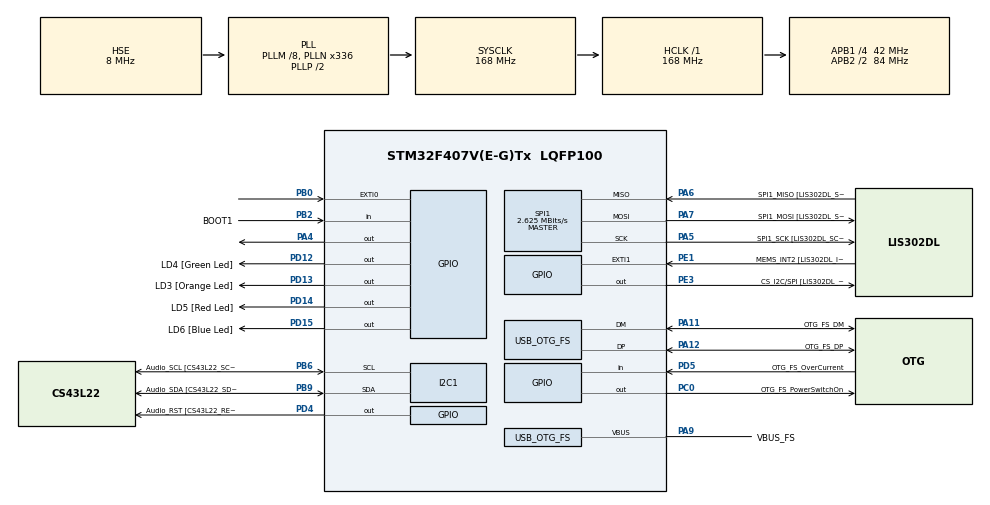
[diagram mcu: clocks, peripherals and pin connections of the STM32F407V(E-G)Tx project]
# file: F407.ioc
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Mcu.Family=STM32F4
Mcu.Name=STM32F407V(E-G)Tx
Mcu.Package=LQFP100
NVIC.EXTI0_IRQn=true\:0\:0\:false\:false\:true\:true\:true\:true
NVIC.OTG_FS_IRQn=true\:0\:0\:false\:false\:true\:true\:true\:true
NVIC.PriorityGroup=NVIC_PRIORITYGROUP_0
NVIC.SPI1_IRQn=true\:0\:0\:false\:false\:true\:true\:true\:true
PA10.GPIO_Label=OTG_FS_ID
PA10.GPIO_Mode=GPIO_MODE_AF_PP
PA10.GPIO_PuPd=GPIO_NOPULL
PA10.GPIO_Speed=GPIO_SPEED_FREQ_LOW
PA10.Signal=USB_OTG_FS_ID
PA11.GPIO_Label=OTG_FS_DM
PA11.GPIO_Mode=GPIO_MODE_AF_PP
PA11.GPIO_PuPd=GPIO_NOPULL
PA11.GPIO_Speed=GPIO_SPEED_FREQ_LOW
PA11.Mode=Device_Only
PA11.Signal=USB_OTG_FS_DM
PA12.GPIO_Label=OTG_FS_DP
PA12.GPIO_Mode=GPIO_MODE_AF_PP
PA12.GPIO_PuPd=GPIO_NOPULL
PA12.GPIO_Speed=GPIO_SPEED_FREQ_LOW
PA12.Mode=Device_Only
PA12.Signal=USB_OTG_FS_DP
PA13.GPIO_Label=SWDIO
PA13.Mode=Serial_Wire
PA13.Signal=SYS_JTMS-SWDIO
PA14.GPIO_Label=SWCLK
PA14.Mode=Serial_Wire
PA14.Signal=SYS_JTCK-SWCLK
PA4.Signal=GPIO_Output
PA5.GPIO_Label=SPI1_SCK [LIS302DL_SCL/SPC]
PA5.GPIO_Mode=GPIO_MODE_AF_PP
PA5.GPIO_PuPd=GPIO_NOPULL
PA5.GPIO_Speed=GPIO_SPEED_FREQ_LOW
PA5.Mode=Full_Duplex_Master
PA5.Signal=SPI1_SCK
PA6.GPIO_Label=SPI1_MISO [LIS302DL_SDO]
PA6.GPIO_Mode=GPIO_MODE_AF_PP
PA6.GPIO_PuPd=GPIO_NOPULL
PA6.GPIO_Speed=GPIO_SPEED_FREQ_LOW
PA6.Mode=Full_Duplex_Master
PA6.Signal=SPI1_MISO
PA7.GPIO_Label=SPI1_MOSI [LIS302DL_SDA/SDI/SDO]
PA7.GPIO_Mode=GPIO_MODE_AF_PP
PA7.GPIO_PuPd=GPIO_NOPULL
PA7.GPIO_Speed=GPIO_SPEED_FREQ_LOW
PA7.Mode=Full_Duplex_Master
PA7.Signal=SPI1_MOSI
PA9.GPIO_Label=VBUS_FS
PA9.GPIO_Mode=GPIO_MODE_INPUT
PA9.GPIO_PuPd=GPIO_NOPULL
PA9.Mode=Activate_VBUS
PA9.Signal=USB_OTG_FS_VBUS
PB0.Signal=GPXTI0
PB10.GPIO_Label=CLK_IN [MP45DT02_CLK]
PB10.GPIO_Mode=GPIO_MODE_AF_PP
PB10.GPIO_PuPd=GPIO_NOPULL
PB10.GPIO_Speed=GPIO_SPEED_FREQ_LOW
PB10.Signal=I2S2_CK
PB2.GPIO_Label=BOOT1
PB2.GPIO_Mode=GPIO_MODE_INPUT
PB2.GPIO_PuPd=GPIO_NOPULL
PB2.Signal=GPIO_Input
PB3.GPIO_Label=SWO
PB3.Signal=SYS_JTDO-SWO
PB6.GPIO_Label=Audio_SCL [CS43L22_SCL]
PB6.GPIO_Mode=GPIO_MODE_AF_OD
PB6.GPIO_Pu=GPIO_PULLUP
PB6.GPIO_PuPd=GPIO_NOPULL
PB6.GPIO_Speed=GPIO_SPEED_FREQ_LOW
PB6.Mode=I2C
PB6.Signal=I2C1_SCL
PB9.GPIO_Label=Audio_SDA [CS43L22_SDA]
PB9.GPIO_Mode=GPIO_MODE_AF_OD
PB9.GPIO_Pu=GPIO_PULLUP
PB9.GPIO_PuPd=GPIO_NOPULL
PB9.GPIO_Speed=GPIO_SPEED_FREQ_LOW
PB9.Mode=I2C
PB9.Signal=I2C1_SDA
PC0.GPIO_Label=OTG_FS_PowerSwitchOn
PC0.GPIO_PuPd=GPIO_NOPULL
PC0.GPIO_Speed=GPIO_SPEED_FREQ_LOW
PC0.PinState=GPIO_PIN_SET
PC0.Signal=GPIO_Output
PC10.GPIO_Label=I2S3_SCK [CS43L22_SCLK]
PC10.GPIO_Mode=GPIO_MODE_AF_PP
PC10.GPIO_PuPd=GPIO_NOPULL
PC10.GPIO_Speed=GPIO_SPEED_FREQ_LOW
PC10.Signal=I2S3_CK
PC12.GPIO_Label=I2S3_SD [CS43L22_SDIN]
PC12.GPIO_Mode=GPIO_MODE_AF_PP
PC12.GPIO_PuPd=GPIO_NOPULL
PC12.GPIO_Speed=GPIO_SPEED_FREQ_LOW
PC12.Signal=I2S3_SD
PC14-OSC32_IN.GPIO_Label=PC14-OSC32_IN
PC14-OSC32_IN.Mode=LSE-External-Oscillator
PC14-OSC32_IN.Signal=RCC_OSC32_IN
PC15-OSC32_OUT.GPIO_Label=PC15-OSC32_OUT
PC15-OSC32_OUT.Mode=LSE-External-Oscillator
PC15-OSC32_OUT.Signal=RCC_OSC32_OUT
PC3.GPIO_Label=PDM_OUT [MP45DT02_DOUT]
PC3.GPIO_Mode=GPIO_MODE_AF_PP
PC3.GPIO_PuPd=GPIO_NOPULL
PC3.GPIO_Speed=GPIO_SPEED_FREQ_LOW
PC3.Signal=I2S2_SD
PC7.GPIO_Label=I2S3_MCK [CS43L22_MCLK]
PC7.GPIO_Mode=GPIO_MODE_AF_PP
PC7.GPIO_PuPd=GPIO_NOPULL
PC7.GPIO_Speed=GPIO_SPEED_FREQ_LOW
PC7.Signal=I2S3_MCK
PD12.GPIO_Label=LD4 [Green Led]
PD12.GPIO_PuPd=GPIO_NOPULL
PD12.GPIO_Speed=GPIO_SPEED_FREQ_LOW
PD12.Signal=GPIO_Output
PD13.GPIO_Label=LD3 [Orange Led]
PD13.GPIO_PuPd=GPIO_NOPULL
PD13.GPIO_Speed=GPIO_SPEED_FREQ_LOW
PD13.Signal=GPIO_Output
PD14.GPIO_Label=LD5 [Red Led]
PD14.GPIO_PuPd=GPIO_NOPULL
PD14.GPIO_Speed=GPIO_SPEED_FREQ_LOW
PD14.Signal=GPIO_Output
PD15.GPIO_Label=LD6 [Blue Led]
PD15.GPIO_PuPd=GPIO_NOPULL
PD15.GPIO_Speed=GPIO_SPEED_FREQ_LOW
PD15.Signal=GPIO_Output
PD4.GPIO_Label=Audio_RST [CS43L22_RESET]
PD4.GPIO_PuPd=GPIO_NOPULL
PD4.GPIO_Speed=GPIO_SPEED_FREQ_LOW
PD4.Signal=GPIO_Output
PD5.GPIO_Label=OTG_FS_OverCurrent
PD5.GPIO_Mode=GPIO_MODE_INPUT
PD5.GPIO_PuPd=GPIO_NOPULL
PD5.Signal=GPIO_Input
PE1.GPIO_Label=MEMS_INT2 [LIS302DL_INT2]
PE1.GPIO_ModeDefaultEXTI=GPIO_MODE_EVT_RISING
PE1.GPIO_PuPd=GPIO_NOPULL
PE1.Signal=GPXTI1
PE3.GPIO_Label=CS_I2C/SPI [LIS302DL_CS_I2C/SPI]
PE3.GPIO_PuPd=GPIO_NOPULL
PE3.GPIO_Speed=GPIO_SPEED_FREQ_LOW
PE3.Signal=GPIO_Output
PH0-OSC_IN.GPIO_Label=PH0-OSC_IN
PH0-OSC_IN.Mode=HSE-External-Oscillator
PH0-OSC_IN.Signal=RCC_OSC_IN
PH1-OSC_OUT.GPIO_Label=PH1-OSC_OUT
PH1-OSC_OUT.Mode=HSE-External-Oscillator
PH1-OSC_OUT.Signal=RCC_OSC_OUT
ProjectManager.HeapSize=0x200
ProjectManager.StackSize=0x400
ProjectManager.TargetToolchain=STM32CubeIDE
RCC.48MHZClocksFreq_Value=48000000
RCC.AHBFreq_Value=168000000
RCC.APB1CLKDivider=RCC_HCLK_DIV4
RCC.APB1Freq_Value=42000000
RCC.APB1TimFreq_Value=84000000
RCC.APB2CLKDivider=RCC_HCLK_DIV2
RCC.APB2Freq_Value=84000000
RCC.APB2TimFreq_Value=168000000
RCC.CortexFreq_Value=168000000
RCC.HCLKFreq_Value=168000000
RCC.HSE_VALUE=8000000
RCC.HSI_VALUE=16000000
RCC.PLLM=8
RCC.PLLN=336
RCC.PLLQ=7
RCC.SYSCLKFreq_VALUE=168000000
RCC.SYSCLKSource=RCC_SYSCLKSOURCE_PLLCLK
RCC.VCOOutputFreq_Value=336000000
SPI1.BaudRatePrescaler=SPI_BAUDRATEPRESCALER_32
SPI1.CLKPhase=SPI_PHASE_2EDGE
SPI1.CalculateBaudRate=2.625 MBits/s
SPI1.Direction=SPI_DIRECTION_2LINES
SPI1.Mode=SPI_MODE_MASTER
SPI1.VirtualType=VM_MASTER
USB_DEVICE.CLASS_NAME_FS=CDC
USB_DEVICE.VirtualMode-CDC_FS=Cdc
USB_DEVICE.VirtualModeFS=Cdc_FS
USB_OTG_FS.VirtualMode=Device_Only
VP_USB_DEVICE_VS_USB_DEVICE_CDC_FS.Mode=CDC_FS
board=STM32F407G-DISC1

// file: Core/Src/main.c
/* USER CODE BEGIN Header */
/**
  ******************************************************************************
  * @file           : main.c
  * @brief          : Main program body
  ******************************************************************************
  * @attention
  *
  * Copyright (c) 2025 STMicroelectronics.
  * All rights reserved.
  *
  * This software is licensed under terms that can be found in the LICENSE file
  * in the root directory of this software component.
  * If no LICENSE file comes with this software, it is provided AS-IS.
  *
  ******************************************************************************
  */
/* USER CODE END Header */
#include "main.h"
#include "usb_device.h"

/* USER CODE BEGIN Includes */
#include "usbd_cdc_if.h"
#include "app_x-cube-nfcx.h"
/* USER CODE END Includes */

/* USER CODE BEGIN PTD */
#include "rfal_platform.h"
/* USER CODE END PTD */

I2C_HandleTypeDef hi2c1;

SPI_HandleTypeDef hspi1;

void SystemClock_Config(void);
static void MX_GPIO_Init(void);
static void MX_I2C1_Init(void);
static void MX_SPI1_Init(void);

/* USER CODE BEGIN 0 */
void SPI1_Transmit(uint8_t* data, uint16_t size) {
  platformSpiSelect();
    // Transmit data via SPI1 using the HAL_SPI_Transmit function
    if (HAL_SPI_Transmit(&hspi1, data, size, HAL_MAX_DELAY) != HAL_OK) {
        // Transmission failed
        Error_Handler();
    }
    platformSpiDeselect();
}
/* USER CODE END 0 */

int main(void)
{

  /* MCU Configuration--------------------------------------------------------*/

  /* Reset of all peripherals, Initializes the Flash interface and the Systick. */
  HAL_Init();

  /* Configure the system clock */
  SystemClock_Config();

  /* Initialize all configured peripherals */
  MX_GPIO_Init();
  MX_I2C1_Init();
  MX_SPI1_Init();
  MX_USB_DEVICE_Init();
  /* USER CODE BEGIN 2 */
  platformSpiDeselect();
  HAL_Delay(700);
  // Example data to send
  uint8_t spiData[] = {0x7f, 0x00};

  // Send data over SPI
  SPI1_Transmit(spiData, sizeof(spiData));
  SPI1_Transmit(spiData, sizeof(spiData));
  SPI1_Transmit(spiData, sizeof(spiData));
	MX_X_CUBE_NFC6_Init();
  /* USER CODE END 2 */

  /* Infinite loop */
  /* USER CODE BEGIN WHILE */
  while (1)
  {
	/* Toggle the state of LD5_Pin */
	HAL_GPIO_TogglePin(GPIOD, LD5_Pin);

	HAL_Delay(500);
//	HAL_GPIO_TogglePin(GPIOA, GPIO_PIN_4);

//	uint8_t UserTxBuffer[] = "STM32 Virtual COM Port Driver \r\n";
//
//
//	usb_printf("%s\r\n",UserTxBuffer);
	/* Delay for 1 second (1000 milliseconds) */
	HAL_Delay(500);

    /* USER CODE END WHILE */

  }
}

void SystemClock_Config(void)
{
  RCC_OscInitTypeDef RCC_OscInitStruct = {0};
  RCC_ClkInitTypeDef RCC_ClkInitStruct = {0};

  /** Configure the main internal regulator output voltage
  */
  __HAL_RCC_PWR_CLK_ENABLE();
  __HAL_PWR_VOLTAGESCALING_CONFIG(PWR_REGULATOR_VOLTAGE_SCALE1);

  /** Initializes the RCC Oscillators according to the specified parameters
  * in the RCC_OscInitTypeDef structure.
  */
  RCC_OscInitStruct.OscillatorType = RCC_OSCILLATORTYPE_HSE;
  RCC_OscInitStruct.HSEState = RCC_HSE_ON;
  RCC_OscInitStruct.PLL.PLLState = RCC_PLL_ON;
  RCC_OscInitStruct.PLL.PLLSource = RCC_PLLSOURCE_HSE;
  RCC_OscInitStruct.PLL.PLLM = 8;
  RCC_OscInitStruct.PLL.PLLN = 336;
  RCC_OscInitStruct.PLL.PLLP = RCC_PLLP_DIV2;
  RCC_OscInitStruct.PLL.PLLQ = 7;
  if (HAL_RCC_OscConfig(&RCC_OscInitStruct) != HAL_OK)
  {
    Error_Handler();
  }

  /** Initializes the CPU, AHB and APB buses clocks
  */
  RCC_ClkInitStruct.ClockType = RCC_CLOCKTYPE_HCLK|RCC_CLOCKTYPE_SYSCLK
                              |RCC_CLOCKTYPE_PCLK1|RCC_CLOCKTYPE_PCLK2;
  RCC_ClkInitStruct.SYSCLKSource = RCC_SYSCLKSOURCE_PLLCLK;
  RCC_ClkInitStruct.AHBCLKDivider = RCC_SYSCLK_DIV1;
  RCC_ClkInitStruct.APB1CLKDivider = RCC_HCLK_DIV4;
  RCC_ClkInitStruct.APB2CLKDivider = RCC_HCLK_DIV2;

  if (HAL_RCC_ClockConfig(&RCC_ClkInitStruct, FLASH_LATENCY_5) != HAL_OK)
  {
    Error_Handler();
  }
}

static void MX_I2C1_Init(void)
{

  hi2c1.Instance = I2C1;
  hi2c1.Init.ClockSpeed = 100000;
  hi2c1.Init.DutyCycle = I2C_DUTYCYCLE_2;
  hi2c1.Init.OwnAddress1 = 0;
  hi2c1.Init.AddressingMode = I2C_ADDRESSINGMODE_7BIT;
  hi2c1.Init.DualAddressMode = I2C_DUALADDRESS_DISABLE;
  hi2c1.Init.OwnAddress2 = 0;
  hi2c1.Init.GeneralCallMode = I2C_GENERALCALL_DISABLE;
  hi2c1.Init.NoStretchMode = I2C_NOSTRETCH_DISABLE;
  if (HAL_I2C_Init(&hi2c1) != HAL_OK)
  {
    Error_Handler();
  }

}

static void MX_SPI1_Init(void)
{

  /* SPI1 parameter configuration*/
  hspi1.Instance = SPI1;
  hspi1.Init.Mode = SPI_MODE_MASTER;
  hspi1.Init.Direction = SPI_DIRECTION_2LINES;
  hspi1.Init.DataSize = SPI_DATASIZE_8BIT;
  hspi1.Init.CLKPolarity = SPI_POLARITY_LOW;
  hspi1.Init.CLKPhase = SPI_PHASE_2EDGE;
  hspi1.Init.NSS = SPI_NSS_SOFT;
  hspi1.Init.BaudRatePrescaler = SPI_BAUDRATEPRESCALER_32;
  hspi1.Init.FirstBit = SPI_FIRSTBIT_MSB;
  hspi1.Init.TIMode = SPI_TIMODE_DISABLE;
  hspi1.Init.CRCCalculation = SPI_CRCCALCULATION_DISABLE;
  hspi1.Init.CRCPolynomial = 10;
  if (HAL_SPI_Init(&hspi1) != HAL_OK)
  {
    Error_Handler();
  }

}

static void MX_GPIO_Init(void)
{
  GPIO_InitTypeDef GPIO_InitStruct = {0};

  /* GPIO Ports Clock Enable */
  __HAL_RCC_GPIOE_CLK_ENABLE();
  __HAL_RCC_GPIOC_CLK_ENABLE();
  __HAL_RCC_GPIOH_CLK_ENABLE();
  __HAL_RCC_GPIOA_CLK_ENABLE();
  __HAL_RCC_GPIOB_CLK_ENABLE();
  __HAL_RCC_GPIOD_CLK_ENABLE();

  /*Configure GPIO pin Output Level */
  HAL_GPIO_WritePin(CS_I2C_SPI_GPIO_Port, CS_I2C_SPI_Pin, GPIO_PIN_RESET);

  /*Configure GPIO pin Output Level */
  HAL_GPIO_WritePin(OTG_FS_PowerSwitchOn_GPIO_Port, OTG_FS_PowerSwitchOn_Pin, GPIO_PIN_SET);

  /*Configure GPIO pin Output Level */
  HAL_GPIO_WritePin(GPIOA, GPIO_PIN_4, GPIO_PIN_RESET);

  /*Configure GPIO pin Output Level */
  HAL_GPIO_WritePin(GPIOD, LD4_Pin|LD3_Pin|LD5_Pin|LD6_Pin
                          |Audio_RST_Pin, GPIO_PIN_RESET);

  /*Configure GPIO pin : CS_I2C_SPI_Pin */
  GPIO_InitStruct.Pin = CS_I2C_SPI_Pin;
  GPIO_InitStruct.Mode = GPIO_MODE_OUTPUT_PP;
  GPIO_InitStruct.Pull = GPIO_NOPULL;
  GPIO_InitStruct.Speed = GPIO_SPEED_FREQ_LOW;
  HAL_GPIO_Init(CS_I2C_SPI_GPIO_Port, &GPIO_InitStruct);

  /*Configure GPIO pin : OTG_FS_PowerSwitchOn_Pin */
  GPIO_InitStruct.Pin = OTG_FS_PowerSwitchOn_Pin;
  GPIO_InitStruct.Mode = GPIO_MODE_OUTPUT_PP;
  GPIO_InitStruct.Pull = GPIO_NOPULL;
  GPIO_InitStruct.Speed = GPIO_SPEED_FREQ_LOW;
  HAL_GPIO_Init(OTG_FS_PowerSwitchOn_GPIO_Port, &GPIO_InitStruct);

  /*Configure GPIO pin : PDM_OUT_Pin */
  GPIO_InitStruct.Pin = PDM_OUT_Pin;
  GPIO_InitStruct.Mode = GPIO_MODE_AF_PP;
  GPIO_InitStruct.Pull = GPIO_NOPULL;
  GPIO_InitStruct.Speed = GPIO_SPEED_FREQ_LOW;
  GPIO_InitStruct.Alternate = GPIO_AF5_SPI2;
  HAL_GPIO_Init(PDM_OUT_GPIO_Port, &GPIO_InitStruct);

  /*Configure GPIO pin : PA4 */
  GPIO_InitStruct.Pin = GPIO_PIN_4;
  GPIO_InitStruct.Mode = GPIO_MODE_OUTPUT_PP;
  GPIO_InitStruct.Pull = GPIO_NOPULL;
  GPIO_InitStruct.Speed = GPIO_SPEED_FREQ_LOW;
  HAL_GPIO_Init(GPIOA, &GPIO_InitStruct);

  /*Configure GPIO pin : PB0 */
  GPIO_InitStruct.Pin = GPIO_PIN_0;
  GPIO_InitStruct.Mode = GPIO_MODE_IT_RISING;
  GPIO_InitStruct.Pull = GPIO_NOPULL;
  HAL_GPIO_Init(GPIOB, &GPIO_InitStruct);

  /*Configure GPIO pin : BOOT1_Pin */
  GPIO_InitStruct.Pin = BOOT1_Pin;
  GPIO_InitStruct.Mode = GPIO_MODE_INPUT;
  GPIO_InitStruct.Pull = GPIO_NOPULL;
  HAL_GPIO_Init(BOOT1_GPIO_Port, &GPIO_InitStruct);

  /*Configure GPIO pin : CLK_IN_Pin */
  GPIO_InitStruct.Pin = CLK_IN_Pin;
  GPIO_InitStruct.Mode = GPIO_MODE_AF_PP;
  GPIO_InitStruct.Pull = GPIO_NOPULL;
  GPIO_InitStruct.Speed = GPIO_SPEED_FREQ_LOW;
  GPIO_InitStruct.Alternate = GPIO_AF5_SPI2;
  HAL_GPIO_Init(CLK_IN_GPIO_Port, &GPIO_InitStruct);

  /*Configure GPIO pins : LD4_Pin LD3_Pin LD5_Pin LD6_Pin
                           Audio_RST_Pin */
  GPIO_InitStruct.Pin = LD4_Pin|LD3_Pin|LD5_Pin|LD6_Pin
                          |Audio_RST_Pin;
  GPIO_InitStruct.Mode = GPIO_MODE_OUTPUT_PP;
  GPIO_InitStruct.Pull = GPIO_NOPULL;
  GPIO_InitStruct.Speed = GPIO_SPEED_FREQ_LOW;
  HAL_GPIO_Init(GPIOD, &GPIO_InitStruct);

  /*Configure GPIO pins : I2S3_MCK_Pin I2S3_SCK_Pin I2S3_SD_Pin */
  GPIO_InitStruct.Pin = I2S3_MCK_Pin|I2S3_SCK_Pin|I2S3_SD_Pin;
  GPIO_InitStruct.Mode = GPIO_MODE_AF_PP;
  GPIO_InitStruct.Pull = GPIO_NOPULL;
  GPIO_InitStruct.Speed = GPIO_SPEED_FREQ_LOW;
  GPIO_InitStruct.Alternate = GPIO_AF6_SPI3;
  HAL_GPIO_Init(GPIOC, &GPIO_InitStruct);

  /*Configure GPIO pin : OTG_FS_OverCurrent_Pin */
  GPIO_InitStruct.Pin = OTG_FS_OverCurrent_Pin;
  GPIO_InitStruct.Mode = GPIO_MODE_INPUT;
  GPIO_InitStruct.Pull = GPIO_NOPULL;
  HAL_GPIO_Init(OTG_FS_OverCurrent_GPIO_Port, &GPIO_InitStruct);

  /*Configure GPIO pin : MEMS_INT2_Pin */
  GPIO_InitStruct.Pin = MEMS_INT2_Pin;
  GPIO_InitStruct.Mode = GPIO_MODE_EVT_RISING;
  GPIO_InitStruct.Pull = GPIO_NOPULL;
  HAL_GPIO_Init(MEMS_INT2_GPIO_Port, &GPIO_InitStruct);

  /* EXTI interrupt init*/
  HAL_NVIC_SetPriority(EXTI0_IRQn, 0, 0);
  HAL_NVIC_EnableIRQ(EXTI0_IRQn);

}

void Error_Handler(void)
{
  __disable_irq();
  while (1)
  {
  }
}
